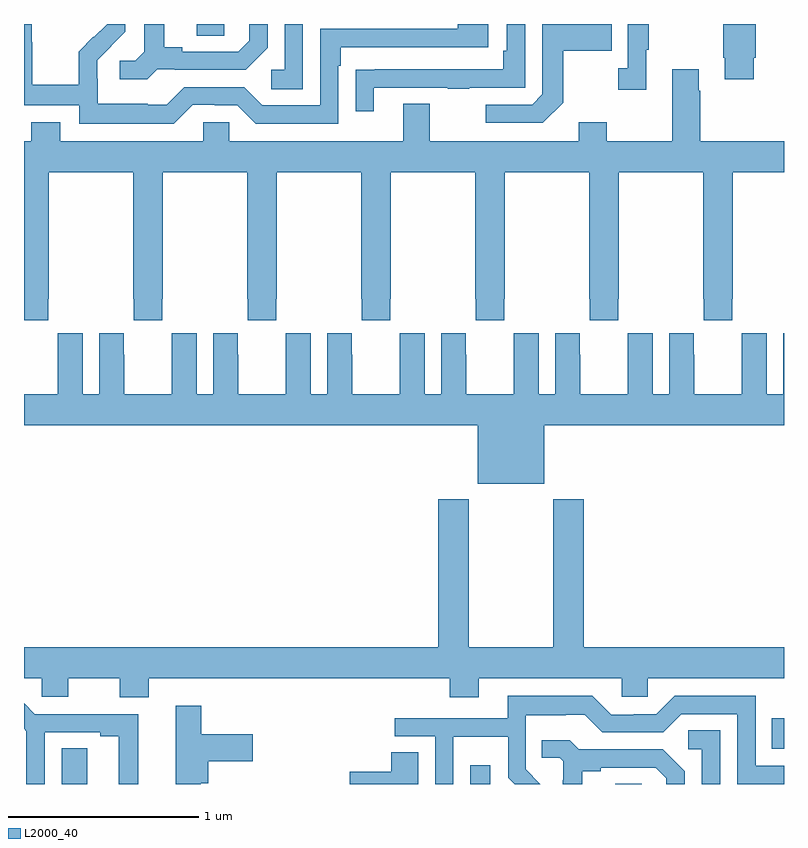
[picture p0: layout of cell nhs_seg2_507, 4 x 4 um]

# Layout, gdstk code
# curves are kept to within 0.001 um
import gdstk
lib = gdstk.Library(unit=1e-6, precision=1e-09)
def R(c, l, rs):  # rectangles x0, y0, x1, y1
    for r in rs: c.add(gdstk.rectangle(r[:2], r[2:], *l))
def P(c, l, *ps):  # polygons
    for p in ps: c.add(gdstk.Polygon(p, *l))
L2000_40 = (2000, 40)

nhs_seg2_507 = lib.new_cell('nhs_seg2_507')
R(nhs_seg2_507, L2000_40, [(137.198,593.8,137.332,593.987), (139.349,593.8,139.453,593.899), (140.111,593.8,140.25,593.801), (140.935,593.985,141,594.145), (137.909,597.739,138.054,597.8)])
P(nhs_seg2_507, L2000_40, [(137.889,597.375),(138.005,597.375),(138.005,597.372),(138.123,597.372),(138.219,597.276),(138.654,597.276),(138.654,597.581),(138.667,597.581),(138.667,597.678),(139.444,597.678),(139.444,597.8),(139.283,597.8),(139.283,597.774),(138.558,597.774),(138.558,597.372),(138.255,597.372),(138.159,597.468),(137.844,597.468),(137.751,597.375),(137.651,597.375),(137.651,597.379),(137.388,597.379),(137.388,597.513),(137.386,597.513),(137.386,597.61),(137.532,597.758),(137.532,597.8),(137.438,597.8),(137.367,597.729),(137.364,597.732),(137.287,597.655),(137.287,597.481),(137.043,597.481),(137.043,597.704),(137.04,597.704),(137.04,597.8),(137,597.8),(137,597.372),(137.292,597.372),(137.292,597.275),(137.789,597.275)],
  [(138.468,597.8),(138.372,597.8),(138.372,597.558),(138.3,597.558),(138.3,597.457),(138.468,597.457)],
  [(140.275,597.665),(140.287,597.665),(140.287,597.8),(140.178,597.8),(140.178,597.566),(140.127,597.566),(140.127,597.453),(140.275,597.453)],
  [(139.837,597.385),(139.837,597.658),(140.093,597.658),(140.093,597.8),(139.728,597.8),(139.728,597.429),(139.674,597.375),(139.431,597.375),(139.431,597.279),(139.731,597.279)],
  [(137.7,597.561),(137.794,597.561),(137.794,597.558),(138.166,597.558),(138.282,597.674),(138.282,597.8),(138.185,597.8),(138.185,597.711),(138.128,597.654),(137.833,597.654),(137.833,597.677),(137.737,597.677),(137.737,597.8),(137.633,597.8),(137.633,597.653),(137.586,597.606),(137.505,597.606),(137.505,597.509),(137.648,597.509)],
  [(138.841,597.465),(139.231,597.465),(139.231,597.46),(139.343,597.46),(139.343,597.465),(139.638,597.465),(139.638,597.8),(139.542,597.8),(139.542,597.658),(139.522,597.658),(139.522,597.561),(138.847,597.561),(138.847,597.56),(138.745,597.56),(138.745,597.342),(138.841,597.342)],
  [(140.842,597.622),(140.85,597.622),(140.85,597.8),(140.68,597.8),(140.68,597.622),(140.687,597.622),(140.687,597.51),(140.842,597.51)],
  [(137.127,596.353),(137.13,596.353),(137.13,597.02),(137.575,597.02),(137.575,596.353),(137.577,596.353),(137.577,596.241),(137.727,596.241),(137.727,596.353),(137.73,596.353),(137.73,597.02),(138.175,597.02),(138.175,596.353),(138.177,596.353),(138.177,596.241),(138.327,596.241),(138.327,596.353),(138.33,596.353),(138.33,597.02),(138.775,597.02),(138.775,596.353),(138.777,596.353),(138.777,596.241),(138.927,596.241),(138.927,596.353),(138.93,596.353),(138.93,597.02),(139.375,597.02),(139.375,596.353),(139.377,596.353),(139.377,596.241),(139.527,596.241),(139.527,596.353),(139.53,596.353),(139.53,597.02),(139.975,597.02),(139.975,596.353),(139.977,596.353),(139.977,596.241),(140.127,596.241),(140.127,596.353),(140.13,596.353),(140.13,597.02),(140.575,597.02),(140.575,596.353),(140.577,596.353),(140.577,596.241),(140.727,596.241),(140.727,596.353),(140.73,596.353),(140.73,597.02),(141,597.02),(141,597.184),(140.559,597.184),(140.559,597.449),(140.551,597.449),(140.551,597.562),(140.411,597.562),(140.411,597.184),(140.067,597.184),(140.067,597.283),(139.919,597.283),(139.919,597.184),(139.135,597.184),(139.135,597.379),(138.995,597.379),(138.995,597.184),(138.081,597.184),(138.081,597.282),(137.943,597.282),(137.943,597.184),(137.191,597.184),(137.191,597.283),(137.039,597.283),(137.039,597.184),(137,597.184),(137,596.241),(137.127,596.241)],
  [(139.738,595.688),(141,595.688),(141,596.173),(140.996,596.173),(140.996,595.852),(140.908,595.852),(140.908,596.173),(140.778,596.173),(140.778,596.06),(140.777,596.06),(140.777,595.852),(140.527,595.852),(140.527,596.06),(140.526,596.06),(140.526,596.173),(140.396,596.173),(140.396,595.852),(140.308,595.852),(140.308,596.173),(140.178,596.173),(140.178,596.06),(140.177,596.06),(140.177,595.852),(139.927,595.852),(139.927,596.06),(139.926,596.06),(139.926,596.173),(139.796,596.173),(139.796,595.852),(139.708,595.852),(139.708,596.173),(139.578,596.173),(139.578,596.06),(139.577,596.06),(139.577,595.852),(139.327,595.852),(139.327,596.06),(139.326,596.06),(139.326,596.173),(139.196,596.173),(139.196,595.852),(139.108,595.852),(139.108,596.173),(138.978,596.173),(138.978,596.06),(138.977,596.06),(138.977,595.852),(138.727,595.852),(138.727,596.06),(138.726,596.06),(138.726,596.173),(138.596,596.173),(138.596,595.852),(138.508,595.852),(138.508,596.173),(138.378,596.173),(138.378,596.06),(138.377,596.06),(138.377,595.852),(138.127,595.852),(138.127,596.06),(138.126,596.06),(138.126,596.173),(137.996,596.173),(137.996,595.852),(137.908,595.852),(137.908,596.173),(137.778,596.173),(137.778,596.06),(137.777,596.06),(137.777,595.852),(137.527,595.852),(137.527,596.06),(137.526,596.06),(137.526,596.173),(137.396,596.173),(137.396,595.852),(137.308,595.852),(137.308,596.173),(137.178,596.173),(137.178,596.06),(137.177,596.06),(137.177,595.852),(137,595.852),(137,595.688),(139.388,595.688),(139.388,595.379),(139.738,595.379)],
  [(137.657,594.356),(139.241,594.356),(139.241,594.257),(139.393,594.257),(139.393,594.356),(140.145,594.356),(140.145,594.258),(140.283,594.258),(140.283,594.356),(141,594.356),(141,594.52),(139.946,594.52),(139.946,595.3),(139.786,595.3),(139.786,594.52),(139.341,594.52),(139.341,595.3),(139.181,595.3),(139.181,594.52),(137,594.52),(137,594.356),(137.094,594.356),(137.094,594.258),(137.233,594.258),(137.233,594.356),(137.504,594.356),(137.504,594.257),(137.657,594.257)],
  [(139.26,594.05),(139.548,594.05),(139.548,593.834),(139.582,593.8),(139.718,593.8),(139.641,593.877),(139.641,594.161),(139.85,594.161),(139.85,594.165),(139.95,594.165),(140.043,594.072),(140.364,594.072),(140.46,594.168),(140.754,594.168),(140.754,593.8),(141,593.8),(141,593.895),(140.85,593.895),(140.85,594.264),(140.424,594.264),(140.328,594.168),(140.208,594.168),(140.208,594.165),(140.091,594.165),(139.991,594.265),(139.547,594.265),(139.547,594.147),(138.951,594.147),(138.951,594.051),(139.164,594.051),(139.164,593.8),(139.26,593.8)],
  [(137.109,594.072),(137.402,594.072),(137.402,594.052),(137.498,594.052),(137.498,593.8),(137.602,593.8),(137.602,594.168),(137.056,594.168),(137,594.224),(137,594.091),(137.013,594.078),(137.013,593.8),(137.109,593.8)],
  [(137.93,593.804),(137.969,593.804),(137.969,593.921),(138.205,593.921),(138.205,594.063),(137.933,594.063),(137.933,594.211),(137.798,594.211),(137.798,593.8),(137.93,593.8)],
  [(140.664,594.083),(140.496,594.083),(140.496,593.982),(140.568,593.982),(140.568,593.8),(140.664,593.8)],
  [(139.939,593.866),(140.035,593.866),(140.035,593.886),(140.324,593.886),(140.381,593.829),(140.381,593.8),(140.478,593.8),(140.478,593.866),(140.362,593.982),(139.92,593.982),(139.872,594.029),(139.726,594.029),(139.726,593.937),(139.821,593.937),(139.839,593.919),(139.839,593.819),(139.835,593.819),(139.835,593.8),(139.939,593.8)],
  [(139.075,593.966),(138.932,593.966),(138.932,593.864),(138.714,593.864),(138.714,593.8),(139.075,593.8)])

lib.write_gds('nhs_seg2_507.gds')
